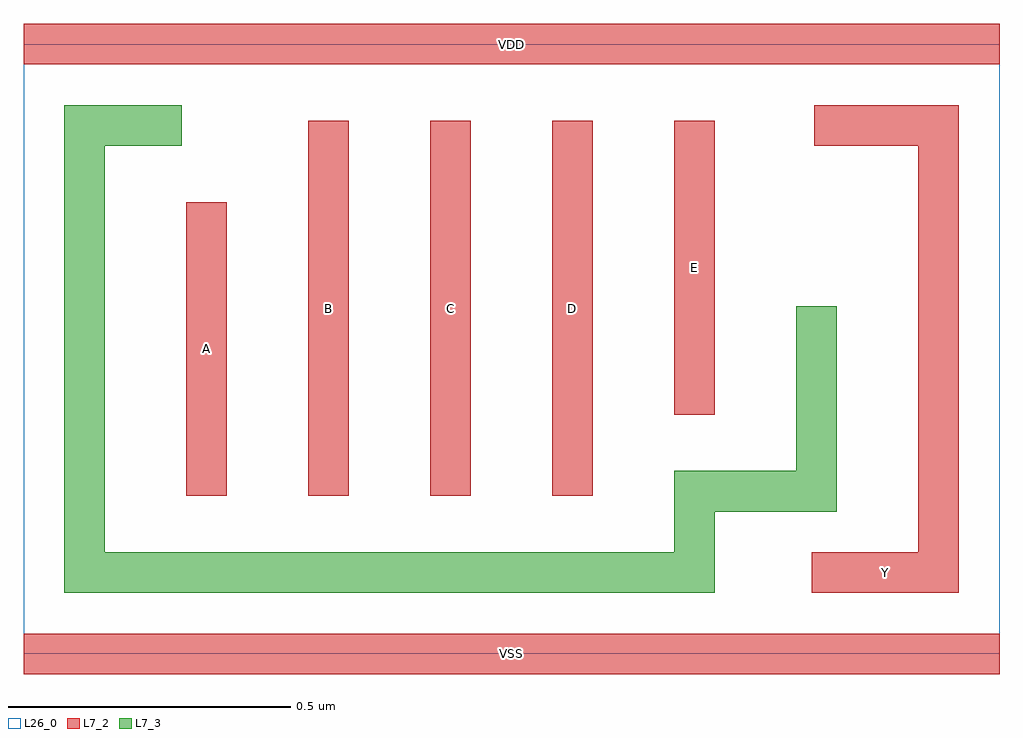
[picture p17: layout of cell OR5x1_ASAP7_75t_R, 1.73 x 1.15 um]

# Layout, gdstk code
import gdstk
lib = gdstk.Library(unit=1e-6, precision=1e-09)
def R(c, l, rs):  # rectangles x0, y0, x1, y1
    for r in rs: c.add(gdstk.rectangle(r[:2], r[2:], *l))
def A(c, l, x, y, w, h, nx, ny, dx, dy):  # array of equal rectangles
    R(c, l, [(x+i*dx, y+j*dy, x+i*dx+w, y+j*dy+h) for i in range(nx) for j in range(ny)])
L7_2 = (7, 2)
L7_3 = (7, 3)
L26_0 = (26, 0)

or5x1_asap7_75t_r = lib.new_cell('OR5x1_ASAP7_75t_R')
A(or5x1_asap7_75t_r, L7_2, 0.504, 0.28, 0.072, 0.664, 3, 1, 0.216, 0)
R(or5x1_asap7_75t_r, L7_2, [(0,-0.036,1.728,0.036), (1.396,0.108,1.656,0.18), (1.584,0.108,1.656,0.972), (0.288,0.28,0.36,0.8), (1.152,0.424,1.224,0.944), (1.4,0.9,1.656,0.972), (0,1.044,1.728,1.116)])
R(or5x1_asap7_75t_r, L7_3, [(0.072,0.108,0.144,0.972), (0.072,0.108,1.224,0.18), (1.152,0.108,1.224,0.324), (1.152,0.252,1.44,0.324), (1.368,0.252,1.44,0.616), (0.072,0.9,0.28,0.972)])
R(or5x1_asap7_75t_r, L26_0, [(0,0,1.728,1.08)])
or5x1_asap7_75t_r.add(gdstk.Label('A', (0.324,0.54), layer=7, texttype=1))
or5x1_asap7_75t_r.add(gdstk.Label('B', (0.54,0.612), layer=7, texttype=1))
or5x1_asap7_75t_r.add(gdstk.Label('C', (0.756,0.612), layer=7, texttype=1))
or5x1_asap7_75t_r.add(gdstk.Label('D', (0.972,0.612), layer=7, texttype=1))
or5x1_asap7_75t_r.add(gdstk.Label('E', (1.188,0.684), layer=7, texttype=1))
or5x1_asap7_75t_r.add(gdstk.Label('VDD', (0.864,1.08), layer=7, texttype=1))
or5x1_asap7_75t_r.add(gdstk.Label('VSS', (0.864,0), layer=7, texttype=1))
or5x1_asap7_75t_r.add(gdstk.Label('Y', (1.526,0.144), layer=7, texttype=1))

lib.write_gds('OR5x1_ASAP7_75t_R.gds')
